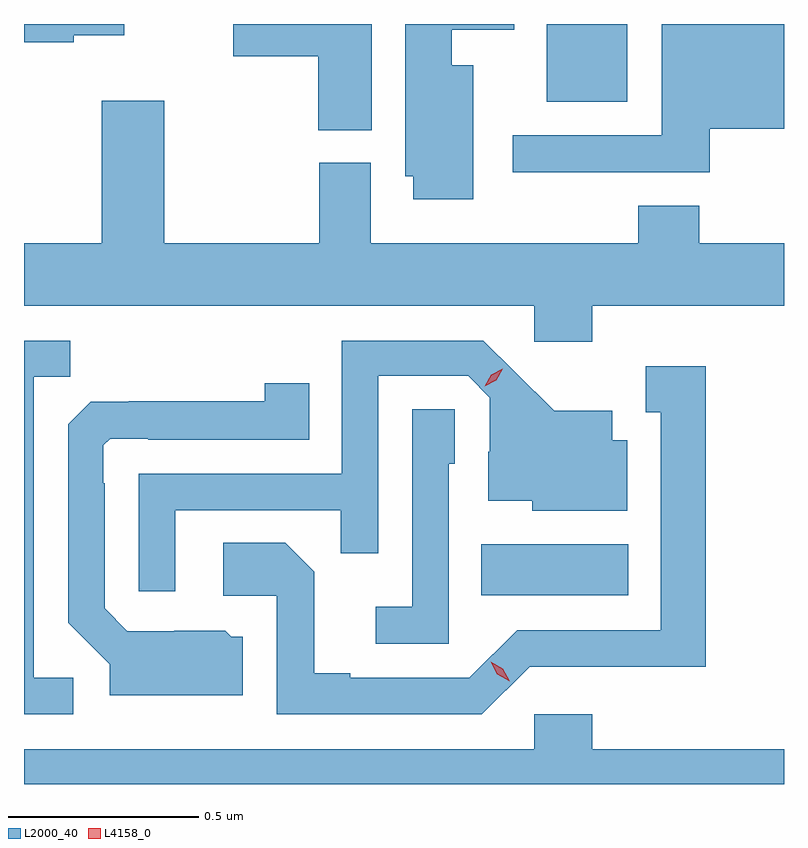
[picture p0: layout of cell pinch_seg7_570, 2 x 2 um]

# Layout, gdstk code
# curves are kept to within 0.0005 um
import gdstk
lib = gdstk.Library(unit=1e-6, precision=1e-09)
def R(c, l, rs):  # rectangles x0, y0, x1, y1
    for r in rs: c.add(gdstk.rectangle(r[:2], r[2:], *l))
def P(c, l, *ps):  # polygons
    for p in ps: c.add(gdstk.Polygon(p, *l))
L2000_40 = (2000, 40)
L4158_0 = (4158, 0)

pinch_seg7_570 = lib.new_cell('pinch_seg7_570')
R(pinch_seg7_570, L2000_40, [(142.03,1043.81,142.417,1043.944), (142.202,1045.109,142.414,1045.313)])
P(pinch_seg7_570, L2000_40, [(141.742,1045.313),(141.378,1045.313),(141.378,1045.228),(141.601,1045.228),(141.601,1045.033),(141.742,1045.033)],
  [(140.958,1045.283),(141.091,1045.283),(141.091,1045.313),(140.827,1045.313),(140.827,1045.265),(140.958,1045.265)],
  [(142.009,1045.204),(141.952,1045.204),(141.952,1045.298),(142.117,1045.298),(142.117,1045.313),(141.83,1045.313),(141.83,1044.912),(141.851,1044.912),(141.851,1044.852),(142.009,1044.852)],
  [(142.631,1045.037),(142.827,1045.037),(142.827,1045.313),(142.505,1045.313),(142.505,1045.02),(142.113,1045.02),(142.113,1044.923),(142.631,1044.923)],
  [(142.322,1044.572),(142.827,1044.572),(142.827,1044.736),(142.604,1044.736),(142.604,1044.835),(142.444,1044.835),(142.444,1044.736),(141.739,1044.736),(141.739,1044.948),(141.604,1044.948),(141.604,1044.736),(141.196,1044.736),(141.196,1045.111),(141.032,1045.111),(141.032,1044.736),(140.827,1044.736),(140.827,1044.572),(142.17,1044.572),(142.17,1044.477),(142.322,1044.477)],
  [(140.956,1043.592),(140.853,1043.592),(140.853,1044.385),(140.949,1044.385),(140.949,1044.48),(140.827,1044.48),(140.827,1043.496),(140.956,1043.496)],
  [(141.225,1044.033),(141.661,1044.033),(141.661,1043.92),(141.759,1043.92),(141.759,1044.387),(141.996,1044.387),(142.053,1044.33),(142.053,1044.188),(142.049,1044.188),(142.049,1044.059),(142.164,1044.059),(142.164,1044.032),(142.414,1044.032),(142.414,1044.217),(142.375,1044.217),(142.375,1044.295),(142.223,1044.295),(142.036,1044.48),(141.663,1044.48),(141.663,1044.129),(141.129,1044.129),(141.129,1043.82),(141.225,1043.82)],
  [(142.158,1043.622),(142.38,1043.622),(142.38,1043.621),(142.621,1043.621),(142.621,1044.412),(142.463,1044.412),(142.463,1044.291),(142.502,1044.291),(142.502,1043.718),(142.125,1043.718),(141.999,1043.592),(141.685,1043.592),(141.685,1043.605),(141.591,1043.605),(141.591,1043.872),(141.515,1043.948),(141.351,1043.948),(141.351,1043.808),(141.492,1043.808),(141.492,1043.496),(142.032,1043.496)],
  [(141.403,1043.7),(141.372,1043.7),(141.356,1043.716),(141.222,1043.716),(141.222,1043.715),(141.099,1043.715),(141.039,1043.775),(141.039,1044.104),(141.036,1044.104),(141.036,1044.204),(141.054,1044.222),(141.154,1044.222),(141.154,1044.219),(141.578,1044.219),(141.578,1044.367),(141.46,1044.367),(141.46,1044.32),(141.103,1044.32),(141.103,1044.319),(141.002,1044.319),(140.943,1044.26),(140.943,1043.738),(141.053,1043.628),(141.053,1043.546),(141.403,1043.546)],
  [(141.945,1044.156),(141.96,1044.156),(141.96,1044.299),(141.849,1044.299),(141.849,1043.779),(141.753,1043.779),(141.753,1043.682),(141.945,1043.682)],
  [(142.827,1043.404),(142.322,1043.404),(142.322,1043.497),(142.17,1043.497),(142.17,1043.404),(140.827,1043.404),(140.827,1043.313),(142.827,1043.313)])
P(pinch_seg7_570, L4158_0, [(142.039,1044.36),(142.039,1044.36),(142.056,1044.39),(142.087,1044.406),(142.087,1044.406),(142.087,1044.406),(142.07,1044.376),(142.039,1044.36)],
  [(142.105,1043.583),(142.073,1043.602),(142.055,1043.635),(142.055,1043.635),(142.055,1043.635),(142.087,1043.616),(142.105,1043.583),(142.105,1043.583)])

lib.write_gds('pinch_seg7_570.gds')
